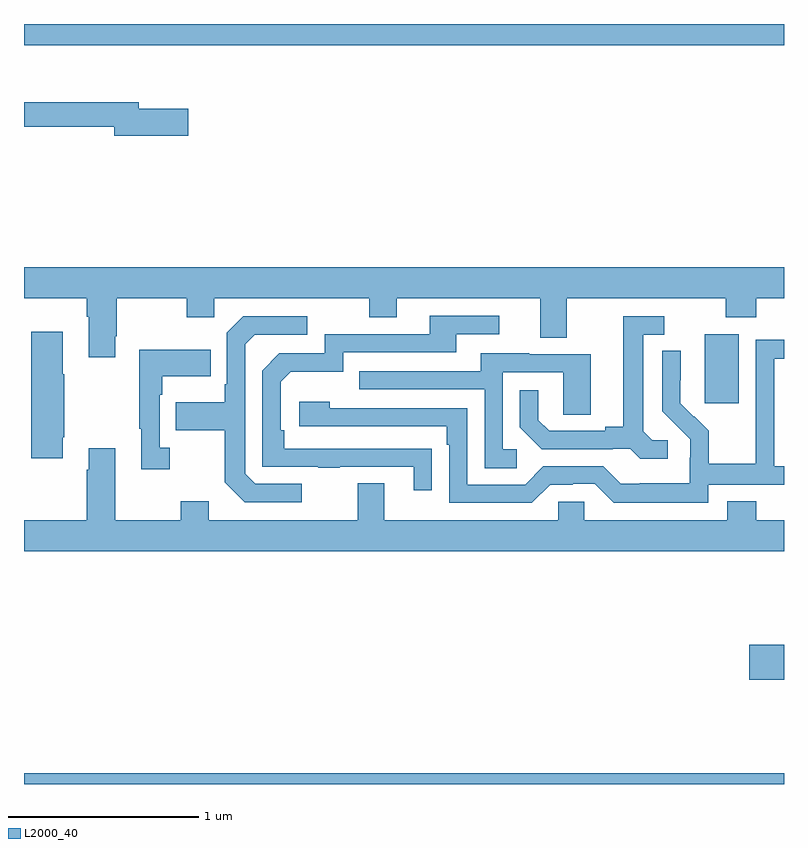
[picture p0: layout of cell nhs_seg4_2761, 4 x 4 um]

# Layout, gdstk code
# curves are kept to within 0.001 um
import gdstk
lib = gdstk.Library(unit=1e-6, precision=1e-09)
def R(c, l, rs):  # rectangles x0, y0, x1, y1
    for r in rs: c.add(gdstk.rectangle(r[:2], r[2:], *l))
def P(c, l, *ps):  # polygons
    for p in ps: c.add(gdstk.Polygon(p, *l))
L2000_40 = (2000, 40)

nhs_seg4_2761 = lib.new_cell('nhs_seg4_2761')
R(nhs_seg4_2761, L2000_40, [(255,824.9,259,824.956), (258.816,825.449,259,825.632), (258.584,826.905,258.763,827.266), (255,828.788,259,828.9)])
P(nhs_seg4_2761, L2000_40, [(255.865,828.453),(255.604,828.453),(255.604,828.487),(255,828.487),(255,828.358),(255.476,828.358),(255.476,828.311),(255.865,828.311)],
  [(255.481,827.257),(255.489,827.257),(255.489,827.456),(255.856,827.456),(255.856,827.357),(256.002,827.357),(256.002,827.456),(256.816,827.456),(256.816,827.357),(256.963,827.357),(256.963,827.456),(257.717,827.456),(257.717,827.248),(257.857,827.248),(257.857,827.456),(258.694,827.456),(258.694,827.357),(258.854,827.357),(258.854,827.456),(259,827.456),(259,827.62),(255,827.62),(255,827.456),(255.329,827.456),(255.329,827.36),(255.341,827.36),(255.341,827.145),(255.481,827.145)],
  [(257.147,826.664),(256.37,826.665),(256.37,826.762),(256.35,826.762),(256.35,827.016),(256.403,827.069),(256.68,827.069),(256.68,827.172),(257.275,827.172),(257.275,827.268),(257.5,827.268),(257.5,827.364),(257.135,827.364),(257.135,827.268),(256.584,827.268),(256.584,827.166),(256.344,827.166),(256.254,827.076),(256.254,826.569),(256.549,826.569),(256.549,826.564),(256.661,826.564),(256.661,826.569),(257.051,826.569),(257.051,826.446),(257.147,826.446)],
  [(256.462,826.479),(256.218,826.479),(256.164,826.533),(256.164,827.214),(256.215,827.265),(256.492,827.265),(256.492,827.361),(256.155,827.361),(256.068,827.274),(256.068,827.005),(256.056,827.005),(256.056,826.909),(255.799,826.909),(255.799,826.762),(256.056,826.762),(256.056,826.489),(256.161,826.383),(256.462,826.383)],
  [(258.388,826.71),(258.306,826.71),(258.259,826.757),(258.259,827.265),(258.37,827.265),(258.37,827.361),(258.155,827.361),(258.155,826.781),(258.059,826.781),(258.059,826.758),(257.764,826.758),(257.707,826.815),(257.707,826.972),(257.61,826.972),(257.61,826.778),(257.726,826.662),(258.098,826.662),(258.098,826.665),(258.192,826.665),(258.244,826.613),(258.388,826.613)],
  [(255.205,826.726),(255.213,826.726),(255.213,827.057),(255.205,827.057),(255.205,827.281),(255.038,827.281),(255.038,826.614),(255.205,826.614)],
  [(258.6,826.476),(259,826.476),(259,826.572),(258.948,826.572),(258.948,827.139),(259,827.139),(259,827.238),(258.852,827.238),(258.852,826.808),(258.85,826.808),(258.85,826.585),(258.605,826.585),(258.605,826.759),(258.528,826.836),(258.525,826.833),(258.455,826.904),(258.456,827.18),(258.36,827.18),(258.36,826.862),(258.506,826.714),(258.506,826.617),(258.504,826.617),(258.504,826.483),(258.241,826.483),(258.241,826.479),(258.141,826.479),(258.048,826.572),(257.733,826.572),(257.637,826.476),(257.334,826.476),(257.334,826.878),(256.61,826.878),(256.61,826.912),(256.449,826.912),(256.449,826.782),(257.225,826.782),(257.225,826.685),(257.238,826.685),(257.238,826.38),(257.673,826.38),(257.769,826.476),(257.888,826.476),(257.888,826.479),(258.003,826.479),(258.103,826.379),(258.6,826.379)],
  [(255.766,826.67),(255.714,826.67),(255.714,826.949),(255.727,826.949),(255.727,827.045),(255.983,827.045),(255.983,827.185),(255.606,827.185),(255.606,826.769),(255.617,826.769),(255.617,826.557),(255.766,826.557)],
  [(257.593,826.662),(257.52,826.662),(257.52,827.067),(257.838,827.067),(257.838,826.843),(257.983,826.843),(257.983,827.163),(257.659,827.163),(257.659,827.167),(257.405,827.167),(257.405,827.073),(256.765,827.073),(256.765,826.977),(257.424,826.977),(257.424,826.561),(257.593,826.561)],
  [(259,826.288),(258.854,826.288),(258.854,826.387),(258.701,826.387),(258.701,826.288),(257.949,826.288),(257.949,826.386),(257.811,826.386),(257.811,826.288),(256.897,826.288),(256.897,826.483),(256.757,826.483),(256.757,826.288),(255.973,826.288),(255.973,826.387),(255.826,826.387),(255.826,826.288),(255.481,826.288),(255.481,826.666),(255.341,826.666),(255.341,826.553),(255.329,826.553),(255.329,826.288),(255,826.288),(255,826.124),(259,826.124)])

lib.write_gds('nhs_seg4_2761.gds')
